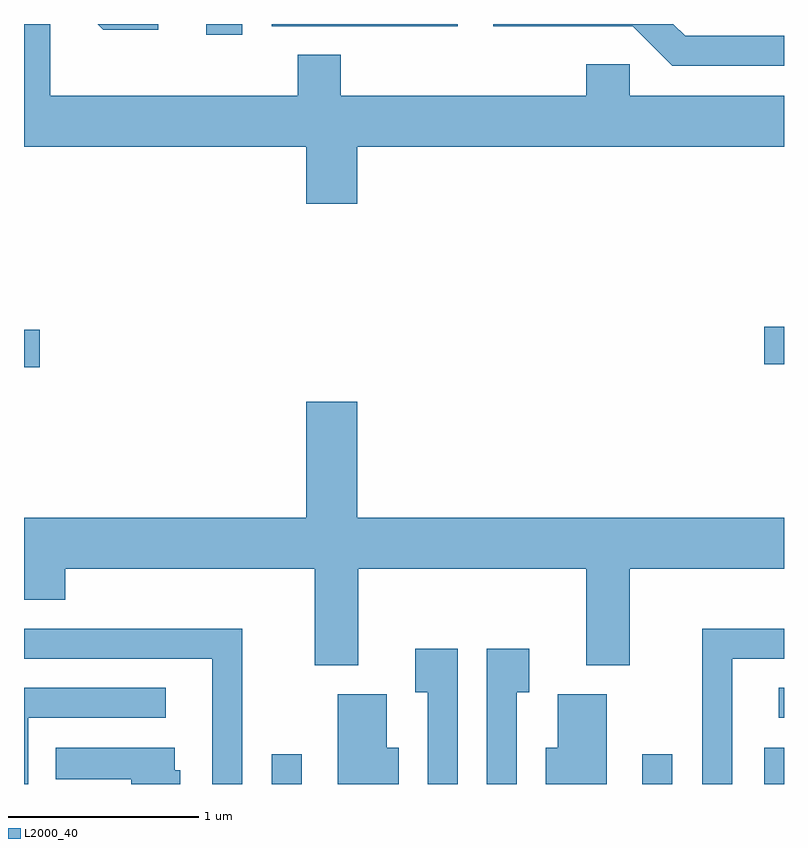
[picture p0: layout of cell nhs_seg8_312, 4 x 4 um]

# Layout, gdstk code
import gdstk
lib = gdstk.Library(unit=1e-6, precision=1e-09)
def R(c, l, rs):  # rectangles x0, y0, x1, y1
    for r in rs: c.add(gdstk.rectangle(r[:2], r[2:], *l))
def P(c, l, *ps):  # polygons
    for p in ps: c.add(gdstk.Polygon(p, *l))
L2000_40 = (2000, 40)

nhs_seg8_312 = lib.new_cell('nhs_seg8_312')
R(nhs_seg8_312, L2000_40, [(194.916,1886.342,195.074,1886.498), (196.866,1886.342,197.024,1886.498), (197.506,1886.342,197.611,1886.534), (197.583,1886.691,197.611,1886.849), (193.611,1888.536,193.694,1888.734), (197.506,1888.551,197.611,1888.749), (194.571,1890.286,194.759,1890.342), (194.916,1890.331,195.894,1890.342)])
P(nhs_seg8_312, L2000_40, [(195.364,1889.696),(197.611,1889.696),(197.611,1889.964),(196.799,1889.964),(196.799,1890.129),(196.571,1890.129),(196.571,1889.964),(195.279,1889.964),(195.279,1890.179),(195.051,1890.179),(195.051,1889.964),(193.749,1889.964),(193.749,1890.342),(193.611,1890.342),(193.611,1889.696),(195.096,1889.696),(195.096,1889.396),(195.364,1889.396)],
  [(194.318,1890.342),(193.998,1890.342),(194.029,1890.311),(194.318,1890.311)],
  [(197.611,1890.279),(197.092,1890.279),(197.029,1890.342),(196.081,1890.342),(196.081,1890.331),(196.814,1890.331),(197.024,1890.121),(197.611,1890.121)],
  [(195.369,1887.476),(196.571,1887.476),(196.571,1886.966),(196.799,1886.966),(196.799,1887.476),(197.611,1887.476),(197.611,1887.744),(195.364,1887.744),(195.364,1888.354),(195.096,1888.354),(195.096,1887.744),(193.611,1887.744),(193.611,1887.311),(193.829,1887.311),(193.829,1887.476),(195.141,1887.476),(195.141,1886.966),(195.369,1886.966)],
  [(197.339,1887.001),(197.611,1887.001),(197.611,1887.159),(197.181,1887.159),(197.181,1886.342),(197.339,1886.342)],
  [(194.759,1887.159),(193.611,1887.159),(193.611,1887.001),(194.601,1887.001),(194.601,1886.342),(194.759,1886.342)],
  [(196.204,1886.826),(196.269,1886.826),(196.269,1887.054),(196.046,1887.054),(196.046,1886.342),(196.204,1886.342)],
  [(195.894,1887.054),(195.671,1887.054),(195.671,1886.826),(195.736,1886.826),(195.736,1886.342),(195.894,1886.342)],
  [(193.634,1886.691),(194.358,1886.691),(194.358,1886.849),(193.611,1886.849),(193.611,1886.342),(193.634,1886.342)],
  [(196.679,1886.814),(196.421,1886.814),(196.421,1886.534),(196.356,1886.534),(196.356,1886.342),(196.679,1886.342)],
  [(195.584,1886.534),(195.519,1886.534),(195.519,1886.814),(195.261,1886.814),(195.261,1886.342),(195.584,1886.342)],
  [(194.434,1886.414),(194.404,1886.414),(194.404,1886.534),(193.778,1886.534),(193.778,1886.366),(194.176,1886.366),(194.176,1886.342),(194.434,1886.342)])

lib.write_gds('nhs_seg8_312.gds')
